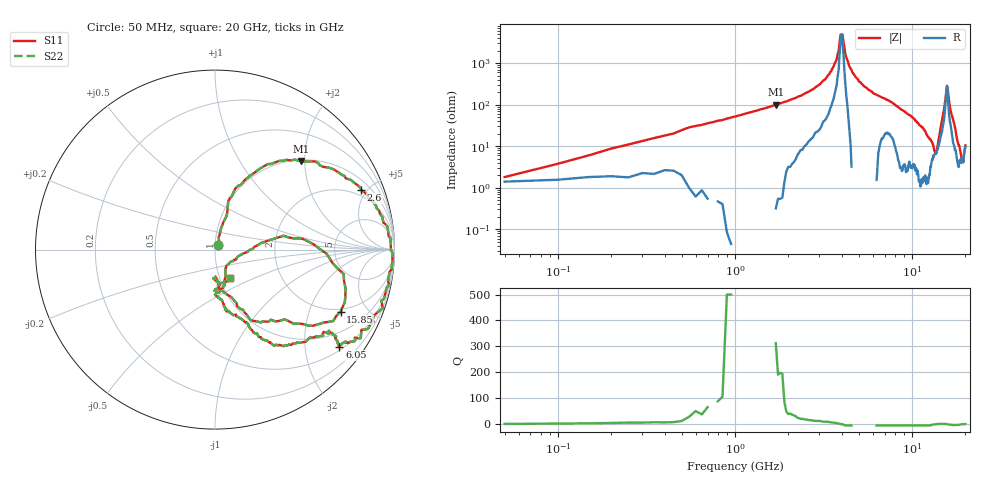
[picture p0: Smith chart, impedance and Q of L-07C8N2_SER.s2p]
#	mhz	s	ma	r	50
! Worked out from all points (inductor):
!   400 points, 50 MHz to 20 GHz, reference 50 ohm
!   read as one part in series: L = 6.82 nH near 150 MHz
!   highest Q = 86.7 at 1.7 GHz (marker M1), where L = 9.33 nH
!   self-resonance near 3.95 GHz
!   S11 on the Smith chart (normalised r, x): 50 MHz: 1.04, +0.05; 2.6 GHz: 1.56, +4.59; 6.05 GHz: 0.58, -2.80; 15.85 GHz: 1.87, -3.29; 20 GHz: 1.11, -0.37
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50  0.03 53.2  0.99 0.1  0.99 0.1  0.03 53.2
200  0.1 73.4  0.98 -4.0  0.98 -4.0  0.1 73.4
550  0.28 74.8  0.94 -15.1  0.94 -15.1  0.28 74.8
1700  0.69 45.7  0.69 -45.0  0.69 -45.0  0.69 45.7
2600  0.88 22.2  0.43 -64.1  0.43 -64.1  0.88 22.2
3400  0.97 5.5  0.18 -77.4  0.18 -77.4  0.97 5.5
3750  0.99 -1.2  0.08 -77.3  0.08 -77.3  0.99 -1.2
3950  0.99 -5.4  0.02 -49.7  0.02 -49.7  0.99 -5.4
4050  0.98 -7.3  0.02 39.8  0.02 39.8  0.98 -7.3
4200  0.98 -10.4  0.06 68.6  0.06 68.6  0.98 -10.4
4600  0.98 -18.2  0.16 72.5  0.16 72.5  0.98 -18.2
6050  0.88 -38.0  0.44 54.8  0.44 54.8  0.88 -38.0
6700  0.83 -36.0  0.52 48.4  0.52 48.4  0.83 -36.0
10050  0.47 -66.2  0.85 21.4  0.85 21.4  0.47 -66.2
13350  0.16 -67.9  0.94 -3.9  0.94 -3.9  0.16 -67.9
14000  0.11 -38.2  0.93 -11.7  0.93 -11.7  0.11 -38.2
15100  0.47 7.7  0.73 -36.6  0.73 -36.6  0.47 7.7
15850  0.78 -26.3  0.28 8.0  0.28 8.0  0.78 -26.3
16700  0.5 -53.2  0.72 16.6  0.72 16.6  0.5 -53.2
18150  0.22 -89.1  0.91 -0.6  0.91 -0.6  0.22 -89.1
19150  0.15 -88.8  0.92 -7.9  0.92 -7.9  0.15 -88.8
20000  0.18 -63.2  0.93 -14.3  0.93 -14.3  0.18 -63.2
